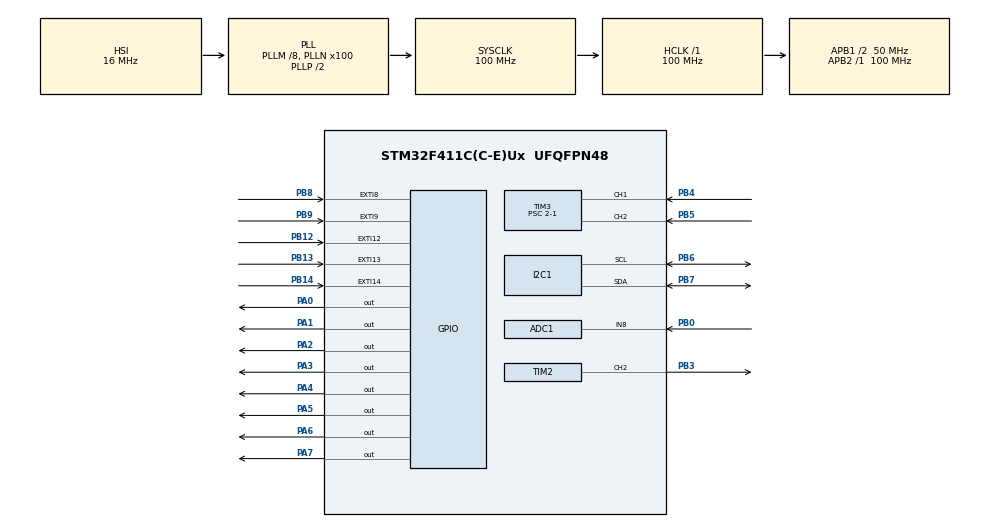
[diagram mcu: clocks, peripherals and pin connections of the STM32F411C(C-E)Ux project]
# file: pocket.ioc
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ADC1.Channel-1\#ChannelRegularConversion=ADC_CHANNEL_8
ADC1.DMAContinuousRequests=ENABLE
ADC1.ExternalTrigConv=ADC_EXTERNALTRIGCONV_T2_CC2
ADC1.NbrOfConversionFlag=1
ADC1.Rank-1\#ChannelRegularConversion=1
ADC1.SamplingTime-1\#ChannelRegularConversion=ADC_SAMPLETIME_3CYCLES
ADC1.master=1
Dma.ADC1.0.Direction=DMA_PERIPH_TO_MEMORY
Dma.ADC1.0.FIFOMode=DMA_FIFOMODE_DISABLE
Dma.ADC1.0.Instance=DMA2_Stream0
Dma.ADC1.0.MemDataAlignment=DMA_MDATAALIGN_HALFWORD
Dma.ADC1.0.MemInc=DMA_MINC_ENABLE
Dma.ADC1.0.Mode=DMA_CIRCULAR
Dma.ADC1.0.PeriphDataAlignment=DMA_PDATAALIGN_HALFWORD
Dma.ADC1.0.PeriphInc=DMA_PINC_DISABLE
Dma.ADC1.0.Priority=DMA_PRIORITY_HIGH
Dma.Request0=ADC1
Dma.Request1=TIM1_UP
Dma.TIM1_UP.1.Direction=DMA_MEMORY_TO_PERIPH
Dma.TIM1_UP.1.FIFOMode=DMA_FIFOMODE_DISABLE
Dma.TIM1_UP.1.Instance=DMA2_Stream5
Dma.TIM1_UP.1.MemDataAlignment=DMA_MDATAALIGN_HALFWORD
Dma.TIM1_UP.1.MemInc=DMA_MINC_ENABLE
Dma.TIM1_UP.1.Mode=DMA_CIRCULAR
Dma.TIM1_UP.1.PeriphDataAlignment=DMA_PDATAALIGN_HALFWORD
Dma.TIM1_UP.1.PeriphInc=DMA_PINC_DISABLE
Dma.TIM1_UP.1.Priority=DMA_PRIORITY_HIGH
I2C1.I2C_Mode=I2C_Fast
Mcu.Family=STM32F4
Mcu.Name=STM32F411C(C-E)Ux
Mcu.Package=UFQFPN48
NVIC.DMA2_Stream0_IRQn=true\:2\:0\:true\:false\:true\:false\:true\:true
NVIC.DMA2_Stream5_IRQn=true\:1\:0\:true\:false\:true\:false\:true\:true
NVIC.EXTI15_10_IRQn=true\:1\:0\:true\:false\:true\:true\:true\:true
NVIC.EXTI9_5_IRQn=true\:1\:0\:true\:false\:true\:true\:true\:true
NVIC.PriorityGroup=NVIC_PRIORITYGROUP_4
PA0-WKUP.GPIO_Speed=GPIO_SPEED_FREQ_HIGH
PA0-WKUP.PinState=GPIO_PIN_RESET
PA0-WKUP.Signal=GPIO_Output
PA1.GPIO_Speed=GPIO_SPEED_FREQ_HIGH
PA1.Signal=GPIO_Output
PA2.GPIO_Speed=GPIO_SPEED_FREQ_HIGH
PA2.Signal=GPIO_Output
PA3.GPIO_Speed=GPIO_SPEED_FREQ_HIGH
PA3.Signal=GPIO_Output
PA4.GPIO_Speed=GPIO_SPEED_FREQ_HIGH
PA4.Signal=GPIO_Output
PA5.GPIO_Speed=GPIO_SPEED_FREQ_HIGH
PA5.Signal=GPIO_Output
PA6.GPIO_Speed=GPIO_SPEED_FREQ_HIGH
PA6.Signal=GPIO_Output
PA7.GPIO_Speed=GPIO_SPEED_FREQ_HIGH
PA7.Signal=GPIO_Output
PB0.Signal=ADCx_IN8
PB12.GPIO_ModeDefaultEXTI=GPIO_MODE_IT_FALLING
PB12.GPIO_PuPd=GPIO_PULLUP
PB12.Signal=GPXTI12
PB13.GPIO_ModeDefaultEXTI=GPIO_MODE_IT_FALLING
PB13.GPIO_PuPd=GPIO_PULLUP
PB13.Signal=GPXTI13
PB14.GPIO_ModeDefaultEXTI=GPIO_MODE_IT_FALLING
PB14.GPIO_PuPd=GPIO_PULLUP
PB14.Signal=GPXTI14
PB3.Signal=S_TIM2_CH2
PB4.Signal=S_TIM3_CH1
PB5.Signal=S_TIM3_CH2
PB6.Mode=I2C
PB6.Signal=I2C1_SCL
PB7.Mode=I2C
PB7.Signal=I2C1_SDA
PB8.GPIO_ModeDefaultEXTI=GPIO_MODE_IT_FALLING
PB8.GPIO_PuPd=GPIO_PULLUP
PB8.Signal=GPXTI8
PB9.GPIO_ModeDefaultEXTI=GPIO_MODE_IT_FALLING
PB9.GPIO_PuPd=GPIO_PULLUP
PB9.Signal=GPXTI9
PC14-OSC32_IN.Mode=LSE-External-Oscillator
PC14-OSC32_IN.Signal=RCC_OSC32_IN
PC15-OSC32_OUT.Mode=LSE-External-Oscillator
PC15-OSC32_OUT.Signal=RCC_OSC32_OUT
PH0\ -\ OSC_IN.Mode=HSE-External-Oscillator
PH0\ -\ OSC_IN.Signal=RCC_OSC_IN
PH1\ -\ OSC_OUT.Mode=HSE-External-Oscillator
PH1\ -\ OSC_OUT.Signal=RCC_OSC_OUT
ProjectManager.HeapSize=0x200
ProjectManager.StackSize=0x400
ProjectManager.TargetToolchain=STM32CubeIDE
RCC.48MHZClocksFreq_Value=50000000
RCC.AHBFreq_Value=100000000
RCC.APB1CLKDivider=RCC_HCLK_DIV2
RCC.APB1Freq_Value=50000000
RCC.APB1TimFreq_Value=100000000
RCC.APB2Freq_Value=100000000
RCC.APB2TimFreq_Value=100000000
RCC.CortexFreq_Value=100000000
RCC.HCLKFreq_Value=100000000
RCC.HSE_VALUE=25000000
RCC.HSI_VALUE=16000000
RCC.PLLM=8
RCC.PLLN=100
RCC.SYSCLKFreq_VALUE=100000000
RCC.SYSCLKSource=RCC_SYSCLKSOURCE_PLLCLK
RCC.VCOOutputFreq_Value=200000000
SH.ADCx_IN8.0=ADC1_IN8,IN8
SH.S_TIM2_CH2.0=TIM2_CH2,PWM Generation2 CH2
SH.S_TIM3_CH1.0=TIM3_CH1,Encoder_Interface
SH.S_TIM3_CH2.0=TIM3_CH2,Encoder_Interface
TIM1.Period=10-1
TIM1.Prescaler=390-1
TIM1.TIM_MasterOutputTrigger=TIM_TRGO_UPDATE
TIM2.Channel-PWM\ Generation2\ CH2=TIM_CHANNEL_2
TIM2.Period=100-1
TIM2.Prescaler=50-1
TIM2.Pulse-PWM\ Generation2\ CH2=50
TIM2.TIM_MasterOutputTrigger=TIM_TRGO_OC2REF
TIM3.IC1Filter=15
TIM3.IC2Filter=15
TIM3.IC2Polarity=TIM_ICPOLARITY_RISING
TIM3.Period=52
TIM3.Prescaler=2-1
VP_TIM1_VS_ClockSourceINT.Mode=Internal
VP_TIM4_VS_ClockSourceINT.Mode=Internal
board=custom

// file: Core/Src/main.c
/* USER CODE BEGIN Header */
/**
  ******************************************************************************
  * @file           : main.c
  * @brief          : Main program body
  ******************************************************************************
  * @attention
  *
  * Copyright (c) 2025 STMicroelectronics.
  * All rights reserved.
  *
  * This software is licensed under terms that can be found in the LICENSE file
  * in the root directory of this software component.
  * If no LICENSE file comes with this software, it is provided AS-IS.
  *
  ******************************************************************************
  */
/* USER CODE END Header */
#include "main.h"
#include "adc.h"
#include "dma.h"
#include "i2c.h"
#include "tim.h"
#include "gpio.h"

/* USER CODE BEGIN Includes */
#include "OLED.h"
#include "oscilloscope.h"
#include "generate.h"
/* USER CODE END Includes */

/* USER CODE BEGIN PD */

#define WAVE_LENGTH 256                // 采样点数
#define  adcvaluelength 3000

/* USER CODE END PD */

/* USER CODE BEGIN PV */

extern DMA_HandleTypeDef hdma_tim1_up;

/* USER CODE END PV */

void SystemClock_Config(void);

/* USER CODE BEGIN 0 */

uint16_t adcvalue[adcvaluelength];

uint8_t exitflag=0;//产生按键中断标志
uint8_t enflag=1;//编码器标志
uint8_t oledwaveflag=1;//波形标志
uint8_t numflag=0;//参数刷新标志

float generate_voltage=3.3;//初始幅度
uint8_t freqpos=1;
uint16_t freq[11]={390,195,130,97,78,65,55,48,43,39,39062};//频率psc数组

uint8_t keynum;   //按键号
uint8_t key1_state;//按键按下次数
uint8_t key2_state=1;
uint8_t key5_state;

float nowfreq;

 uint16_t sin_wavedata[WAVE_LENGTH];   // 存储数据
 uint16_t sq_wavedata[WAVE_LENGTH];
 uint16_t tang_wavedata[WAVE_LENGTH];
 uint16_t dc_wavedata[WAVE_LENGTH];
 uint16_t *pwave=sin_wavedata;       //波形指针

/* USER CODE END 0 */

int main(void)
{

  /* MCU Configuration--------------------------------------------------------*/

  /* Reset of all peripherals, Initializes the Flash interface and the Systick. */
  HAL_Init();

  /* Configure the system clock */
  SystemClock_Config();

  /* Initialize all configured peripherals */
  MX_GPIO_Init();
  MX_DMA_Init();
  MX_ADC1_Init();
  MX_I2C1_Init();
  MX_TIM1_Init();
  MX_TIM3_Init();
  MX_TIM2_Init();
  MX_TIM4_Init();
  /* USER CODE BEGIN 2 */

  OLED_Init();

 Generate_init(generate_voltage);//峰峰值初始化

 HAL_ADC_Start_DMA(&hadc1, (uint32_t*)adcvalue, 3000);
 HAL_TIM_PWM_Start(&htim2, TIM_CHANNEL_2);//TIM2pwm触发adc

 HAL_TIM_Encoder_Start(&htim3, TIM_CHANNEL_ALL);//TIM3编码器模式

 HAL_DMA_Start(&hdma_tim1_up, (uint32_t*)pwave, (uint32_t)&GPIOA->ODR, 256);
  __HAL_TIM_ENABLE_DMA(&htim1, TIM_DMA_UPDATE); // TIM1触发DMA
  HAL_TIM_Base_Start(&htim1);

  uint8_t x=1;
  uint8_t y=20;
  uint8_t tgv=26;

  /* USER CODE END 2 */

  /* Infinite loop */
  while (1)
  {

    /* USER CODE BEGIN 3 */

	uint8_t count =__HAL_TIM_GET_COUNTER(&htim3);

 if(exitflag==1)
 {	switch(keynum)
	{
	case 1:
		switch(key1_state)//采样频率
		{
			case 1:
				__HAL_TIM_SET_PRESCALER(&htim2,2999);
				HAL_TIM_PWM_Stop(&htim2, TIM_CHANNEL_2);
				HAL_TIM_PWM_Start(&htim2, TIM_CHANNEL_2);
				break;
			case 2:
				__HAL_TIM_SET_PRESCALER(&htim2,19);
				HAL_TIM_PWM_Stop(&htim2, TIM_CHANNEL_2);
				HAL_TIM_PWM_Start(&htim2, TIM_CHANNEL_2);
				break;
			case 3:
				__HAL_TIM_SET_PRESCALER(&htim2,49);
				HAL_TIM_PWM_Stop(&htim2, TIM_CHANNEL_2);
				HAL_TIM_PWM_Start(&htim2, TIM_CHANNEL_2);
				break;
		}

		break;
	case 2:
		switch(key2_state)//水平,垂直,触发
		{
			case 1:enflag=1;
				   break;
			case 2:enflag=2;
				   break;
			case 3:enflag=3;
				   break;
		}
	     break;
	 case 3://幅度
	 {
		 HAL_TIM_Base_Stop(&htim1);
		 HAL_DMA_Abort(&hdma_tim1_up);
		 generate_voltage-=0.3;
		 if(generate_voltage<0.9)
		 {
			 generate_voltage=3.3;
		 }
		 Generate_init(generate_voltage);
		 HAL_DMA_Start(&hdma_tim1_up, (uint32_t*)pwave, (uint32_t)&GPIOA->ODR, 256);
		 HAL_TIM_Base_Start(&htim1);
	 }
	     break;
	 case 4://频率
	 {

		  HAL_TIM_Base_Stop(&htim1);
		  htim1.Instance->PSC=freq[freqpos];
		  HAL_TIM_Base_Start(&htim1);
		  freqpos++;
		  if(freqpos>10)
		  {
			  freqpos=0;
		  }

	 }
	     break;
	 case 5://波形指针
		 switch(key5_state)
			 {
      	 	 case 1://方波

					HAL_TIM_Base_Stop(&htim1);
					HAL_DMA_Abort(&hdma_tim1_up);
					pwave=sq_wavedata;
					HAL_DMA_Start(&hdma_tim1_up, (uint32_t*)pwave, (uint32_t)&GPIOA->ODR, 256);
					HAL_TIM_Base_Start(&htim1);
					oledwaveflag=2;
					break;
			 case 2://三角
					HAL_TIM_Base_Stop(&htim1);
					HAL_DMA_Abort(&hdma_tim1_up);
				    pwave=tang_wavedata;
					HAL_DMA_Start(&hdma_tim1_up, (uint32_t*)pwave, (uint32_t)&GPIOA->ODR, 256);
					HAL_TIM_Base_Start(&htim1);
					oledwaveflag=3;
					   break;
			 case 3://DC
					HAL_TIM_Base_Stop(&htim1);
					HAL_DMA_Abort(&hdma_tim1_up);
					pwave=dc_wavedata;
					HAL_DMA_Start(&hdma_tim1_up, (uint32_t*)pwave, (uint32_t)&GPIOA->ODR, 256);
					HAL_TIM_Base_Start(&htim1);
					oledwaveflag=4;
					break;
			 case 4://正弦
					 HAL_TIM_Base_Stop(&htim1);
					 HAL_DMA_Abort(&hdma_tim1_up);
					 pwave=sin_wavedata;
					 HAL_DMA_Start(&hdma_tim1_up, (uint32_t*)pwave, (uint32_t)&GPIOA->ODR, 256);
					 HAL_TIM_Base_Start(&htim1);
					 oledwaveflag=1;
					 break;
			 }
	     break;
	}
		 keynum=0;
		 exitflag=0;
 }

	switch(enflag)//获取水平,垂直,触发
	{
	case 1: x=count>20?20:count;
            OLED_ShowString(100, 7, "X", 12);
			numflag=3;
	         break;
	case 2: y=count;
	        OLED_ShowString(100, 7, "Y", 12);
			numflag=3;
            break;
	case 3: tgv=count;
	        OLED_ShowString(100, 7, "TGV", 12);
	        float realtgv=(tgv-26)*1.27/y+1.65;
	        if(realtgv>=3.3||realtgv<=0)
	        {
	        	realtgv=0;
	        	OLED_ShowNum(100, 6, realtgv, 1, 12);
	        }
	        else
	        {
		        OLED_ShowFloat(100, 6, realtgv, 1, 12);//触发电压
	        }
	        OLED_DrawLine(88, 52-tgv, 91, 52-tgv, 1);//触发小短线
	        numflag=3;
	        break;
	}

    switch(oledwaveflag)//显示当前波形
    {
    case 1: OLED_ShowString(100, 1, "sin", 12);break;
    case 2:	OLED_ShowString(100, 1, "sq", 12);break;
    case 3: OLED_ShowString(100, 1, "tang", 12);break;
    case 4: OLED_ShowString(100, 1, "dc", 12);break;
    }

    uint16_t sample=htim2.Instance->PSC;//显示采样率模式
	switch(sample)
    {
	   case 19:OLED_ShowString(100, 2, "High", 12);break;
	   case 49:OLED_ShowString(100, 2, "Mid", 12);break;
	   case 2999:OLED_ShowString(100, 2 , "Low", 12);break;
	}

    if(oledwaveflag==4)//更新测量幅度
    {
    	uint16_t nowadcvalue=HAL_ADC_GetValue(&hadc1);
    	float getdcvoltage= nowadcvalue/4094.9*3.3;
    	OLED_ShowFloat(0, 7, getdcvoltage, 1, 12);
    }
    else
    {
    	float getvoltage=get_amplitude();
    	OLED_ShowFloat(0, 7, getvoltage, 1, 12);
	}
    OLED_ShowChar(23, 7, 'V', 12);

    if(oledwaveflag==4)//更新频率
    {
        OLED_ShowNum(37, 7, 0, 4, 12);
    }
    else
    {
       OLED_ShowNum(37, 7,nowfreq+1, 4, 12);
    }
    OLED_ShowString(61, 7, "Hz", 12);

	OLED_ShowString(100, 0, "Y-T", 12);
    OLED_grid();

	adcvalue_change_waveform(x,y);// 将 ADC 数据转换为波形数据
	uint8_t tgpos = get_triggervoltage_pos(tgv);// 获取触发位置
	oledshow_waveform(tgpos);//画波形

	OLED_Update_Screen();

	 //参数局部刷新
	 switch(numflag)
	{
		case 1:OLED_Clear_num_1();
			   numflag=0;
			   break;
		case 2:OLED_Clear_num_2();
			   numflag=0;
			   break;
		case 3:OLED_Clear_num_3();
			   OLED_Clear_num_4();
			   numflag=0;
			   break;
	}
    //波形刷新
	OLED_Clear_wave();

  }
  /* USER CODE END 3 */
}

void SystemClock_Config(void)
{
  RCC_OscInitTypeDef RCC_OscInitStruct = {0};
  RCC_ClkInitTypeDef RCC_ClkInitStruct = {0};

  /** Configure the main internal regulator output voltage
  */
  __HAL_RCC_PWR_CLK_ENABLE();
  __HAL_PWR_VOLTAGESCALING_CONFIG(PWR_REGULATOR_VOLTAGE_SCALE1);

  /** Initializes the RCC Oscillators according to the specified parameters
  * in the RCC_OscInitTypeDef structure.
  */
  RCC_OscInitStruct.OscillatorType = RCC_OSCILLATORTYPE_HSI;
  RCC_OscInitStruct.HSIState = RCC_HSI_ON;
  RCC_OscInitStruct.HSICalibrationValue = RCC_HSICALIBRATION_DEFAULT;
  RCC_OscInitStruct.PLL.PLLState = RCC_PLL_ON;
  RCC_OscInitStruct.PLL.PLLSource = RCC_PLLSOURCE_HSI;
  RCC_OscInitStruct.PLL.PLLM = 8;
  RCC_OscInitStruct.PLL.PLLN = 100;
  RCC_OscInitStruct.PLL.PLLP = RCC_PLLP_DIV2;
  RCC_OscInitStruct.PLL.PLLQ = 4;
  if (HAL_RCC_OscConfig(&RCC_OscInitStruct) != HAL_OK)
  {
    Error_Handler();
  }

  /** Initializes the CPU, AHB and APB buses clocks
  */
  RCC_ClkInitStruct.ClockType = RCC_CLOCKTYPE_HCLK|RCC_CLOCKTYPE_SYSCLK
                              |RCC_CLOCKTYPE_PCLK1|RCC_CLOCKTYPE_PCLK2;
  RCC_ClkInitStruct.SYSCLKSource = RCC_SYSCLKSOURCE_PLLCLK;
  RCC_ClkInitStruct.AHBCLKDivider = RCC_SYSCLK_DIV1;
  RCC_ClkInitStruct.APB1CLKDivider = RCC_HCLK_DIV2;
  RCC_ClkInitStruct.APB2CLKDivider = RCC_HCLK_DIV1;

  if (HAL_RCC_ClockConfig(&RCC_ClkInitStruct, FLASH_LATENCY_3) != HAL_OK)
  {
    Error_Handler();
  }
}

/* USER CODE BEGIN 4 */
void HAL_GPIO_EXTI_Callback(uint16_t GPIO_Pin)
{

	exitflag=1;
	HAL_Delay(100);
if(keynum==0)
{
    switch (GPIO_Pin)
    {
        case GPIO_PIN_8:
            keynum=1;
            key1_state++;
            if(key1_state>3)
			{
				key1_state=1;
			}
			numflag=2;
            break;
        case GPIO_PIN_9:
        	keynum=2;
        	key2_state++;
			if(key2_state>3)
			{
				key2_state=1;
			}
            break;
        case GPIO_PIN_12:
        	keynum=3;
             break;
        case GPIO_PIN_13:
        	keynum=4;
             break;
        case GPIO_PIN_14:
        	keynum=5;
        	key5_state++;
			if(key5_state>4)
			{
				key5_state=1;
			}
			numflag=1;
             break;
    }
 }
}

void HAL_ADC_ConvCpltCallback(ADC_HandleTypeDef* hadc)//ADC传输完成计算
{
    if (hadc->Instance == ADC1)
    {
        fftdata();
        getfrequency(&nowfreq);
        HAL_ADC_Start_DMA(&hadc1, (uint32_t*)adcvalue, 3000);
    }
}

/* USER CODE END 4 */

void Error_Handler(void)
{
  __disable_irq();
  while (1)
  {
  }
}
